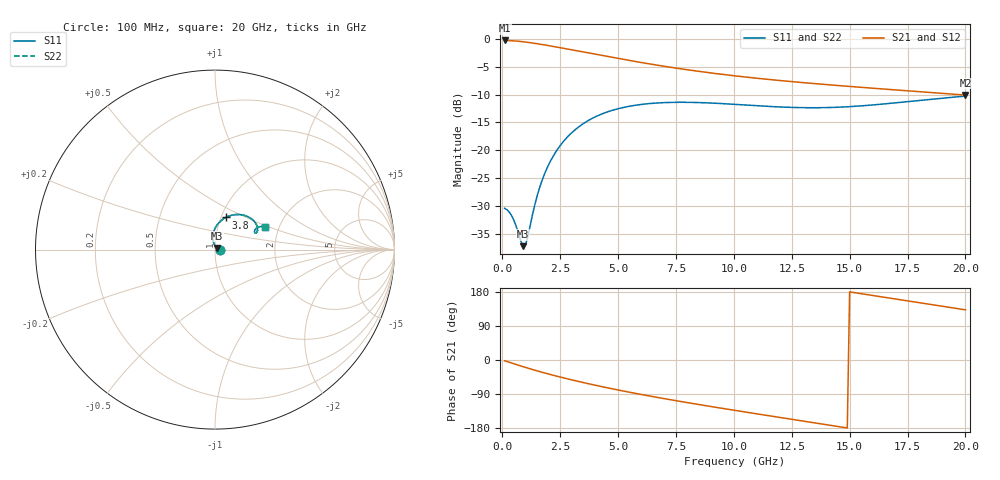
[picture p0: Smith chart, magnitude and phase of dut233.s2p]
! Created with skrf 1.9.0 (http://scikit-rf.org).
# GHz S RI R 50.0
!freq ReS11 ImS11 ReS21 ImS21 ReS12 ImS12 ReS22 ImS22
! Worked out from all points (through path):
!   200 points, 100 MHz to 20 GHz, reference 50 ohm
!   highest |S21| = -0.27 dB at 100 MHz (marker M1); lowest = -10.1 dB at 20 GHz (marker M2)
!   group delay of S21, straight-line fit = 29.6 ps
!   lowest |S11| = -37.2 dB at 900 MHz (marker M3), VSWR 1.03, Z = 51.1 + j0.878 ohm
!   |S11| at or under -10 dB: start of sweep to end of sweep
!   |S22| runs from -37.2 to -10.3 dB; largest |S21 - S12| = 1.9e-15
!   S11 on the Smith chart (normalised r, x): 100 MHz: 1.06, -0.00; 3.8 GHz: 1.05, +0.39; 20 GHz: 1.69, +0.47
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0.1  0.0301 -0.0002  0.9687 -0.0341  0.9687 -0.0341  0.0301 -0.0002
0.3  0.0278 -0.000348  0.9611 -0.1013  0.9611 -0.1013  0.0278 -0.000348
0.5  0.0235 0.000654  0.9464 -0.1665  0.9464 -0.1665  0.0235 0.000654
0.9  0.0107 0.00859  0.899 -0.2867  0.899 -0.2867  0.0107 0.00859
1  0.00724 0.0121  0.8841 -0.3142  0.8841 -0.3142  0.00724 0.0121
1.1  0.00382 0.0161  0.8681 -0.3405  0.8681 -0.3405  0.00382 0.0161
1.3  -0.00243 0.026  0.8335 -0.3896  0.8335 -0.3896  -0.00243 0.026
1.5  -0.00741 0.0378  0.7962 -0.4339  0.7962 -0.4339  -0.00741 0.0378
1.7  -0.0107 0.0512  0.7568 -0.4736  0.7568 -0.4736  -0.0107 0.0512
2  -0.0118 0.073  0.6954 -0.5247  0.6954 -0.5247  -0.0118 0.073
2.3  -0.00826 0.0955  0.6324 -0.5666  0.6324 -0.5666  -0.00826 0.0955
2.7  0.00322 0.124  0.5483 -0.6095  0.5483 -0.6095  0.00322 0.124
3.5  0.0427 0.1683  0.3861 -0.6582  0.3861 -0.6582  0.0427 0.1683
3.8  0.0606 0.1793  0.3289 -0.666  0.3289 -0.666  0.0606 0.1793
5.1  0.1377 0.1952  0.1107 -0.6529  0.1107 -0.6529  0.1377 0.1952
6.8  0.207 0.1682  -0.099 -0.5678  -0.099 -0.5678  0.207 0.1682
8.4  0.2339 0.1318  -0.2308 -0.4598  -0.2308 -0.4598  0.2339 0.1318
10.1  0.2363 0.1036  -0.3198 -0.3371  -0.3198 -0.3371  0.2363 0.1036
11.7  0.2284 0.0928  -0.367 -0.2216  -0.367 -0.2216  0.2284 0.0928
13.4  0.2209 0.0961  -0.3849 -0.1026  -0.3849 -0.1026  0.2209 0.0961
16.7  0.2336 0.1212  -0.3374 0.0997  -0.3374 0.0997  0.2336 0.1212
20  0.2795 0.1251  -0.2115 0.231  -0.2115 0.231  0.2795 0.1251
